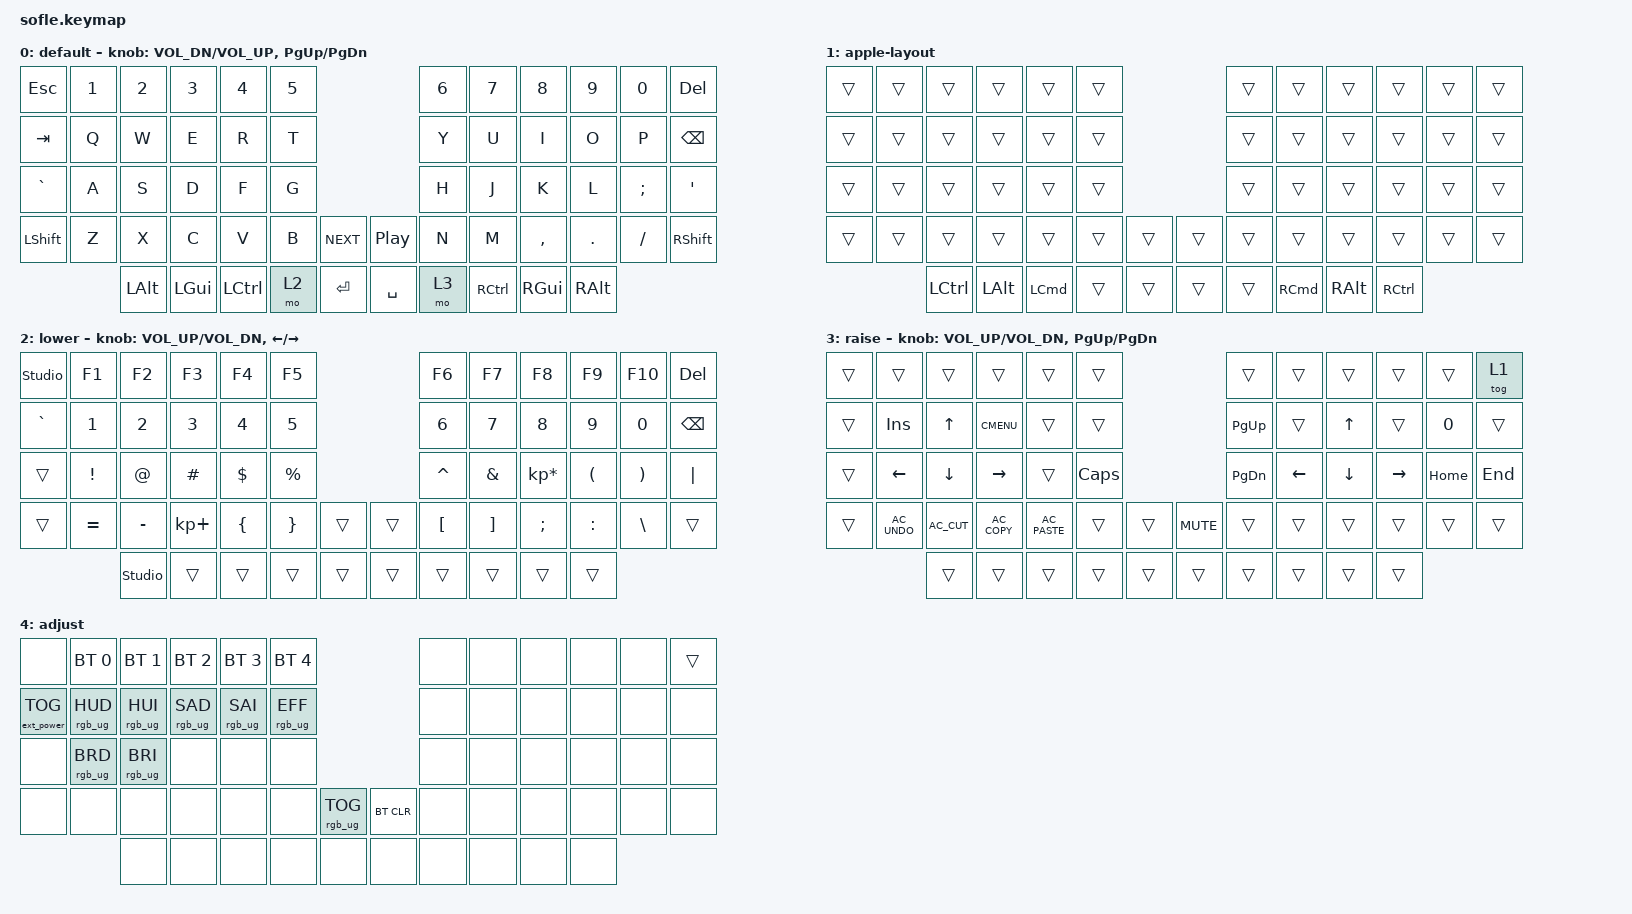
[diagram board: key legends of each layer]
/*
 * Copyright (c) 2020 The ZMK Contributors
 *
 * SPDX-License-Identifier: MIT
 */

#include <behaviors.dtsi>
#include <dt-bindings/zmk/bt.h>
#include <dt-bindings/zmk/ext_power.h>
#include <dt-bindings/zmk/keys.h>
#include <dt-bindings/zmk/rgb.h>

#define BASE 0
#define LOWER 1
#define RAISE 2
#define ADJUST 3

/ {
    // Activate ADJUST layer by pressing raise and lower

    conditional_layers {
        compatible = "zmk,conditional-layers";

        adjust_layer {
            if-layers = <2 3>;
            then-layer = <4>;
        };
    };

    keymap {
        compatible = "zmk,keymap";

        default_layer {
            label = "default";

            // ------------------------------------------------------------------------------------------------------------
            // |   `   |  1  |  2  |  3   |  4   |  5   |                   |  6   |  7    |  8    |  9   |   0   |       |
            // |  ESC  |  Q  |  W  |  E   |  R   |  T   |                   |  Y   |  U    |  I    |  O   |   P   | BKSPC |
            // |  TAB  |  A  |  S  |  D   |  F   |  G   |                   |  H   |  J    |  K    |  L   |   ;   |   '   |
            // | SHIFT |  Z  |  X  |  C   |  V   |  B   |  MUTE  |  |       |  N   |  M    |  ,    |  .   |   /   | SHIFT |
            //               | GUI | ALT  | CTRL | LOWER|  ENTER |  | SPACE | RAISE| CTRL  | ALT   | GUI  |

            bindings = <
&kp ESCAPE  &kp N1  &kp N2        &kp N3        &kp N4     &kp N5                                  &kp N6  &kp N7     &kp N8         &kp N9         &kp N0    &kp DEL
&kp TAB     &kp Q   &kp W         &kp E         &kp R      &kp T                                   &kp Y   &kp U      &kp I          &kp O          &kp P     &kp BACKSPACE
&kp GRAVE   &kp A   &kp S         &kp D         &kp F      &kp G                                   &kp H   &kp J      &kp K          &kp L          &kp SEMI  &kp SQT
&kp LSHFT   &kp Z   &kp X         &kp C         &kp V      &kp B   &kp C_NEXT    &kp C_PLAY_PAUSE  &kp N   &kp M      &kp COMMA      &kp DOT        &kp FSLH  &kp RSHFT
                    &kp LEFT_ALT  &kp LEFT_GUI  &kp LCTRL  &mo 2   &kp ENTER     &kp SPACE         &mo 3   &kp RCTRL  &kp RIGHT_GUI  &kp RIGHT_ALT
            >;

            sensor-bindings =
                <&inc_dec_kp C_VOL_DN C_VOL_UP>,
                <&inc_dec_kp PG_UP PG_DN>;
        };

        apple-layout {
            bindings = <
&trans  &trans  &trans            &trans        &trans            &trans                    &trans  &trans             &trans         &trans             &trans  &trans
&trans  &trans  &trans            &trans        &trans            &trans                    &trans  &trans             &trans         &trans             &trans  &trans
&trans  &trans  &trans            &trans        &trans            &trans                    &trans  &trans             &trans         &trans             &trans  &trans
&trans  &trans  &trans            &trans        &trans            &trans  &trans    &trans  &trans  &trans             &trans         &trans             &trans  &trans
                &kp LEFT_CONTROL  &kp LEFT_ALT  &kp LEFT_COMMAND  &trans  &trans    &trans  &trans  &kp RIGHT_COMMAND  &kp RIGHT_ALT  &kp RIGHT_CONTROL
            >;
        };

        lower_layer {
            label = "lower";

            // TODO: Some binds are waiting for shifted keycode support.
            // ------------------------------------------------------------------------------------------------------------
            // |       |  F1 |  F2 |  F3  |  F4  |  F5  |                   |  F6  |  F7   |  F8   |  F9  |  F10  |  F11  |
            // |   `   |  1  |  2  |  3   |  4   |  5   |                   |  6   |  7    |  8    |  9   |   0   |  F12  |
            // |       |  !  |  @  |  #   |  $   |  %   |                   |  ^   |  &    |  *    |  (   |   )   |   |   |
            // |       |  =  |  -  |  +   |  {   |  }   |        |  |       |  [   |  ]    |  ;    |  :   |   \   |       |
            //               |     |      |      |      |        |  |       |      |       |       |      |

            bindings = <
&studio_unlock  &kp F1     &kp F2          &kp F3       &kp F4    &kp F5                       &kp F6     &kp F7    &kp F8           &kp F9     &kp F10   &kp DELETE
&kp GRAVE       &kp N1     &kp N2          &kp N3       &kp N4    &kp N5                       &kp N6     &kp N7    &kp N8           &kp N9     &kp N0    &kp BACKSPACE
&trans          &kp EXCL   &kp AT          &kp HASH     &kp DLLR  &kp PRCNT                    &kp CARET  &kp AMPS  &kp KP_MULTIPLY  &kp LPAR   &kp RPAR  &kp PIPE
&trans          &kp EQUAL  &kp MINUS       &kp KP_PLUS  &kp LBRC  &kp RBRC   &trans    &trans  &kp LBKT   &kp RBKT  &kp SEMI         &kp COLON  &kp BSLH  &trans
                           &studio_unlock  &trans       &trans    &trans     &trans    &trans  &trans     &trans    &trans           &trans
            >;

            sensor-bindings =
                <&inc_dec_kp C_VOL_UP C_VOL_DN>,
                <&inc_dec_kp LEFT RIGHT>;
        };

        raise_layer {
            label = "raise";

            // ------------------------------------------------------------------------------------------------------------
            // | BTCLR | BT1  | BT2  |  BT3  |  BT4  |  BT5 |                |      |      |       |      |       |       |
            // |       | INS  | PSCR | GUI   |       |      |                | PGUP |      |   ^   |      |       |       |
            // |       | ALT  | CTRL | SHIFT |       | CAPS |                | PGDN |   <- |   v   |  ->  |  DEL  | BKSPC |
            // |       | UNDO | CUT  | COPY  | PASTE |      |      |  |      |      |      |       |      |       |       |
            //                |      |       |       |      |      |  |      |      |      |       |      |

            bindings = <
&trans  &trans          &trans        &trans           &trans          &trans                          &trans     &trans    &trans    &trans     &trans    &tog 1
&trans  &kp INS         &kp UP_ARROW  &kp K_CMENU      &trans          &trans                          &kp PG_UP  &trans    &kp UP    &trans     &kp N0    &trans
&trans  &kp LEFT_ARROW  &kp DOWN      &kp RIGHT_ARROW  &trans          &kp CLCK                        &kp PG_DN  &kp LEFT  &kp DOWN  &kp RIGHT  &kp HOME  &kp END
&trans  &kp C_AC_UNDO   &kp C_AC_CUT  &kp C_AC_COPY    &kp C_AC_PASTE  &trans    &trans    &kp C_MUTE  &trans     &trans    &trans    &trans     &trans    &trans
                        &trans        &trans           &trans          &trans    &trans    &trans      &trans     &trans    &trans    &trans
            >;

            sensor-bindings = <&inc_dec_kp C_VOL_UP C_VOL_DN &inc_dec_kp PG_UP PG_DN>;
        };

        adjust_layer {
            // ----------------------------------------------------------------------------------------------------------------------------
            // | BTCLR  |  BT1    |  BT2    |   BT3   |   BT4   |   BT5   |                  |      |      |       |      |       |       |
            // | EXTPWR | RGB_HUD | RGB_HUI | RGB_SAD | RGB_SAI | RGB_EFF |                  |      |      |       |      |       |       |
            // |        | RGB_BRD | RGB_BRI |         |         |         |                  |      |      |       |      |       |       |
            // |        |         |         |         |         |         | RGB_TOG | |      |      |      |       |      |       |       |
            //                    |         |         |         |         |         | |      |      |      |       |      |

            label = "adjust";
            bindings = <
&none              &bt BT_SEL 0     &bt BT_SEL 1     &bt BT_SEL 2     &bt BT_SEL 3     &bt BT_SEL 4                                    &none  &none  &none  &none  &none  &trans
&ext_power EP_TOG  &rgb_ug RGB_HUD  &rgb_ug RGB_HUI  &rgb_ug RGB_SAD  &rgb_ug RGB_SAI  &rgb_ug RGB_EFF                                 &none  &none  &none  &none  &none  &none
&none              &rgb_ug RGB_BRD  &rgb_ug RGB_BRI  &none            &none            &none                                           &none  &none  &none  &none  &none  &none
&none              &none            &none            &none            &none            &none            &rgb_ug RGB_TOG    &bt BT_CLR  &none  &none  &none  &none  &none  &none
                                    &none            &none            &none            &none            &none              &none       &none  &none  &none  &none
            >;
        };
    };
};
